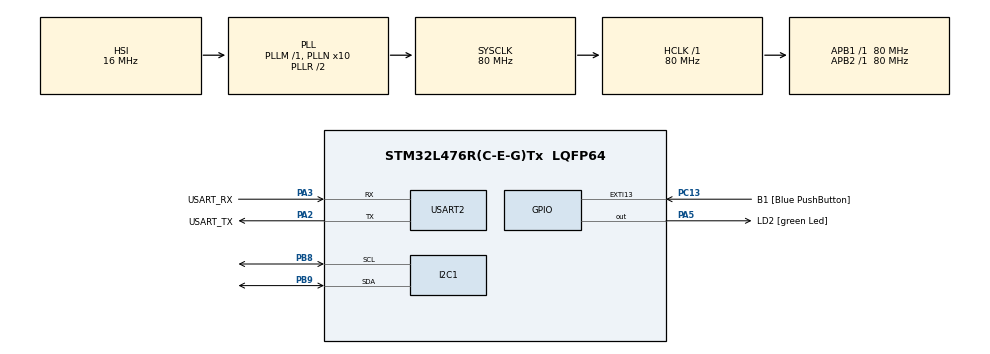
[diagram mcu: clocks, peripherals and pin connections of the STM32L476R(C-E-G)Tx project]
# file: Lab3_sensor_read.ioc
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I2C1.Timing=0x10D19CE4
Mcu.Family=STM32L4
Mcu.Name=STM32L476R(C-E-G)Tx
Mcu.Package=LQFP64
NVIC.PriorityGroup=NVIC_PRIORITYGROUP_4
PA13\ (JTMS-SWDIO).GPIO_Label=TMS
PA13\ (JTMS-SWDIO).Mode=Serial_Wire
PA13\ (JTMS-SWDIO).Signal=SYS_JTMS-SWDIO
PA14\ (JTCK-SWCLK).GPIO_Label=TCK
PA14\ (JTCK-SWCLK).Mode=Serial_Wire
PA14\ (JTCK-SWCLK).Signal=SYS_JTCK-SWCLK
PA2.GPIO_Label=USART_TX
PA2.GPIO_Mode=GPIO_MODE_AF_PP
PA2.GPIO_PuPd=GPIO_NOPULL
PA2.GPIO_Speed=GPIO_SPEED_FREQ_VERY_HIGH
PA2.Mode=Asynchronous
PA2.Signal=USART2_TX
PA3.GPIO_Label=USART_RX
PA3.GPIO_Mode=GPIO_MODE_AF_PP
PA3.GPIO_PuPd=GPIO_NOPULL
PA3.GPIO_Speed=GPIO_SPEED_FREQ_VERY_HIGH
PA3.Mode=Asynchronous
PA3.Signal=USART2_RX
PA5.GPIO_Label=LD2 [green Led]
PA5.GPIO_ModeDefaultOutputPP=GPIO_MODE_OUTPUT_PP
PA5.GPIO_PuPd=GPIO_NOPULL
PA5.GPIO_Speed=GPIO_SPEED_FREQ_LOW
PA5.Signal=GPIO_Output
PB3\ (JTDO-TRACESWO).GPIO_Label=SWO
PB3\ (JTDO-TRACESWO).Signal=SYS_JTDO-SWO
PB8.Mode=I2C
PB8.Signal=I2C1_SCL
PB9.Mode=I2C
PB9.Signal=I2C1_SDA
PC13.GPIO_Label=B1 [Blue PushButton]
PC13.GPIO_ModeDefaultEXTI=GPIO_MODE_IT_FALLING
PC13.GPIO_PuPd=GPIO_NOPULL
PC13.Signal=GPXTI13
PC14-OSC32_IN\ (PC14).Mode=LSE-External-Oscillator
PC14-OSC32_IN\ (PC14).Signal=RCC_OSC32_IN
PC15-OSC32_OUT\ (PC15).Mode=LSE-External-Oscillator
PC15-OSC32_OUT\ (PC15).Signal=RCC_OSC32_OUT
PH0-OSC_IN\ (PH0).Signal=RCC_OSC_IN
PH1-OSC_OUT\ (PH1).Signal=RCC_OSC_OUT
ProjectManager.HeapSize=0x200
ProjectManager.StackSize=0x400
ProjectManager.TargetToolchain=STM32CubeIDE
RCC.ADCFreq_Value=64000000
RCC.AHBFreq_Value=80000000
RCC.APB1Freq_Value=80000000
RCC.APB1TimFreq_Value=80000000
RCC.APB2Freq_Value=80000000
RCC.APB2TimFreq_Value=80000000
RCC.CortexFreq_Value=80000000
RCC.HCLKFreq_Value=80000000
RCC.HSE_VALUE=8000000
RCC.HSI_VALUE=16000000
RCC.MSI_VALUE=4000000
RCC.PLLN=10
RCC.PLLSourceVirtual=RCC_PLLSOURCE_HSI
RCC.PREFETCH_ENABLE=1
RCC.SYSCLKFreq_VALUE=80000000
RCC.SYSCLKSource=RCC_SYSCLKSOURCE_PLLCLK
RCC.USBFreq_Value=64000000
RCC.VCOOutputFreq_Value=160000000
USART2.VirtualMode-Asynchronous=VM_ASYNC
board=NUCLEO-L476RG

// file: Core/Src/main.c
/* USER CODE BEGIN Header */
/**
  ******************************************************************************
  * @file           : main.c
  * @brief          : Main program body
  ******************************************************************************
  * @attention
  *
  * Copyright (c) 2025 STMicroelectronics.
  * All rights reserved.
  *
  * This software is licensed under terms that can be found in the LICENSE file
  * in the root directory of this software component.
  * If no LICENSE file comes with this software, it is provided AS-IS.
  *
  ******************************************************************************
  */
/* USER CODE END Header */
#include "main.h"

/* USER CODE BEGIN Includes */
#include <string.h>
#include <stdio.h>
/* USER CODE END Includes */

/* USER CODE BEGIN PD */
#define ISL29125_ADDR         (0x44 << 1)  // 7-bit address shifted for HAL

// Register map
#define ISL29125_REG_DEVICE_ID   0x00
#define ISL29125_REG_CONFIG1     0x01
#define ISL29125_REG_CONFIG2     0x02
#define ISL29125_REG_CONFIG3     0x03
#define ISL29125_REG_STATUS      0x08
#define ISL29125_REG_GREEN_L     0x09
#define ISL29125_REG_GREEN_H     0x0A
#define ISL29125_REG_RED_L       0x0B
#define ISL29125_REG_RED_H       0x0C
#define ISL29125_REG_BLUE_L      0x0D
#define ISL29125_REG_BLUE_H      0x0E

// Config bits
#define CONFIG1_MODE_RGB_16BIT   0x05   // RGB mode, 16-bit ADC, 375 lux
#define CONFIG1_MODE_RGB_12BIT   0x0D   // RGB mode, 12-bit ADC, 375 lux
#define CONFIG2_IR_MAX           0xBF   // Max IR compensation + IR offset
#define CONFIG3_DEFAULT          0x00   // Default settings

/* USER CODE END PD */

I2C_HandleTypeDef hi2c1;

UART_HandleTypeDef huart2;

/* USER CODE BEGIN PV */
char msg[64];
int r, g, b;
/* USER CODE END PV */

void SystemClock_Config(void);
static void MX_GPIO_Init(void);
static void MX_USART2_UART_Init(void);
static void MX_I2C1_Init(void);
/* USER CODE BEGIN PFP */
HAL_StatusTypeDef ISL29125_WriteRegister(uint8_t reg, uint8_t value);
HAL_StatusTypeDef ISL29125_ReadRegister(uint8_t reg, uint8_t *value);
HAL_StatusTypeDef ISL29125_Init(void);
HAL_StatusTypeDef ISL29125_ReadRGB255(int *r_val, int *g_val, int *b_val);
const char* DetectColor(int r, int g, int b);
/* USER CODE END PFP */

int main(void)
{

  /* MCU Configuration--------------------------------------------------------*/

  /* Reset of all peripherals, Initializes the Flash interface and the Systick. */
  HAL_Init();

  /* Configure the system clock */
  SystemClock_Config();

  /* Initialize all configured peripherals */
  MX_GPIO_Init();
  MX_USART2_UART_Init();
  MX_I2C1_Init();
  /* USER CODE BEGIN 2 */
  ISL29125_Init();
  /* USER CODE END 2 */

  /* Infinite loop */
  /* USER CODE BEGIN WHILE */
  while (1)
  {

	  if (ISL29125_ReadRGB255(&r, &g, &b) == HAL_OK) {
		  const char* color = DetectColor(r, g, b);
		  int len = snprintf(msg, sizeof(msg), "R=%d G=%d B=%d \r\n", r, g, b);
	      HAL_UART_Transmit(&huart2, (uint8_t*)msg, len, HAL_MAX_DELAY);

	  }
	  HAL_Delay(500);
    /* USER CODE END WHILE */

  }
}

void SystemClock_Config(void)
{
  RCC_OscInitTypeDef RCC_OscInitStruct = {0};
  RCC_ClkInitTypeDef RCC_ClkInitStruct = {0};

  /** Configure the main internal regulator output voltage
  */
  if (HAL_PWREx_ControlVoltageScaling(PWR_REGULATOR_VOLTAGE_SCALE1) != HAL_OK)
  {
    Error_Handler();
  }

  /** Initializes the RCC Oscillators according to the specified parameters
  * in the RCC_OscInitTypeDef structure.
  */
  RCC_OscInitStruct.OscillatorType = RCC_OSCILLATORTYPE_HSI;
  RCC_OscInitStruct.HSIState = RCC_HSI_ON;
  RCC_OscInitStruct.HSICalibrationValue = RCC_HSICALIBRATION_DEFAULT;
  RCC_OscInitStruct.PLL.PLLState = RCC_PLL_ON;
  RCC_OscInitStruct.PLL.PLLSource = RCC_PLLSOURCE_HSI;
  RCC_OscInitStruct.PLL.PLLM = 1;
  RCC_OscInitStruct.PLL.PLLN = 10;
  RCC_OscInitStruct.PLL.PLLP = RCC_PLLP_DIV7;
  RCC_OscInitStruct.PLL.PLLQ = RCC_PLLQ_DIV2;
  RCC_OscInitStruct.PLL.PLLR = RCC_PLLR_DIV2;
  if (HAL_RCC_OscConfig(&RCC_OscInitStruct) != HAL_OK)
  {
    Error_Handler();
  }

  /** Initializes the CPU, AHB and APB buses clocks
  */
  RCC_ClkInitStruct.ClockType = RCC_CLOCKTYPE_HCLK|RCC_CLOCKTYPE_SYSCLK
                              |RCC_CLOCKTYPE_PCLK1|RCC_CLOCKTYPE_PCLK2;
  RCC_ClkInitStruct.SYSCLKSource = RCC_SYSCLKSOURCE_PLLCLK;
  RCC_ClkInitStruct.AHBCLKDivider = RCC_SYSCLK_DIV1;
  RCC_ClkInitStruct.APB1CLKDivider = RCC_HCLK_DIV1;
  RCC_ClkInitStruct.APB2CLKDivider = RCC_HCLK_DIV1;

  if (HAL_RCC_ClockConfig(&RCC_ClkInitStruct, FLASH_LATENCY_4) != HAL_OK)
  {
    Error_Handler();
  }
}

static void MX_I2C1_Init(void)
{

  hi2c1.Instance = I2C1;
  hi2c1.Init.Timing = 0x10D19CE4;
  hi2c1.Init.OwnAddress1 = 0;
  hi2c1.Init.AddressingMode = I2C_ADDRESSINGMODE_7BIT;
  hi2c1.Init.DualAddressMode = I2C_DUALADDRESS_DISABLE;
  hi2c1.Init.OwnAddress2 = 0;
  hi2c1.Init.OwnAddress2Masks = I2C_OA2_NOMASK;
  hi2c1.Init.GeneralCallMode = I2C_GENERALCALL_DISABLE;
  hi2c1.Init.NoStretchMode = I2C_NOSTRETCH_DISABLE;
  if (HAL_I2C_Init(&hi2c1) != HAL_OK)
  {
    Error_Handler();
  }

  /** Configure Analogue filter
  */
  if (HAL_I2CEx_ConfigAnalogFilter(&hi2c1, I2C_ANALOGFILTER_ENABLE) != HAL_OK)
  {
    Error_Handler();
  }

  /** Configure Digital filter
  */
  if (HAL_I2CEx_ConfigDigitalFilter(&hi2c1, 0) != HAL_OK)
  {
    Error_Handler();
  }

}

static void MX_USART2_UART_Init(void)
{

  huart2.Instance = USART2;
  huart2.Init.BaudRate = 115200;
  huart2.Init.WordLength = UART_WORDLENGTH_8B;
  huart2.Init.StopBits = UART_STOPBITS_1;
  huart2.Init.Parity = UART_PARITY_NONE;
  huart2.Init.Mode = UART_MODE_TX_RX;
  huart2.Init.HwFlowCtl = UART_HWCONTROL_NONE;
  huart2.Init.OverSampling = UART_OVERSAMPLING_16;
  huart2.Init.OneBitSampling = UART_ONE_BIT_SAMPLE_DISABLE;
  huart2.AdvancedInit.AdvFeatureInit = UART_ADVFEATURE_NO_INIT;
  if (HAL_UART_Init(&huart2) != HAL_OK)
  {
    Error_Handler();
  }

}

static void MX_GPIO_Init(void)
{
  GPIO_InitTypeDef GPIO_InitStruct = {0};

  /* GPIO Ports Clock Enable */
  __HAL_RCC_GPIOC_CLK_ENABLE();
  __HAL_RCC_GPIOH_CLK_ENABLE();
  __HAL_RCC_GPIOA_CLK_ENABLE();
  __HAL_RCC_GPIOB_CLK_ENABLE();

  /*Configure GPIO pin Output Level */
  HAL_GPIO_WritePin(LD2_GPIO_Port, LD2_Pin, GPIO_PIN_RESET);

  /*Configure GPIO pin : B1_Pin */
  GPIO_InitStruct.Pin = B1_Pin;
  GPIO_InitStruct.Mode = GPIO_MODE_IT_FALLING;
  GPIO_InitStruct.Pull = GPIO_NOPULL;
  HAL_GPIO_Init(B1_GPIO_Port, &GPIO_InitStruct);

  /*Configure GPIO pin : LD2_Pin */
  GPIO_InitStruct.Pin = LD2_Pin;
  GPIO_InitStruct.Mode = GPIO_MODE_OUTPUT_PP;
  GPIO_InitStruct.Pull = GPIO_NOPULL;
  GPIO_InitStruct.Speed = GPIO_SPEED_FREQ_LOW;
  HAL_GPIO_Init(LD2_GPIO_Port, &GPIO_InitStruct);

}

/* USER CODE BEGIN 4 */
HAL_StatusTypeDef ISL29125_WriteRegister(uint8_t reg, uint8_t value) {
    uint8_t buf[2] = {reg, value};
    return HAL_I2C_Master_Transmit(&hi2c1, ISL29125_ADDR, buf, 2, HAL_MAX_DELAY);
}

HAL_StatusTypeDef ISL29125_ReadRegister(uint8_t reg, uint8_t *value) {
    HAL_StatusTypeDef ret;
    ret = HAL_I2C_Master_Transmit(&hi2c1, ISL29125_ADDR, &reg, 1, HAL_MAX_DELAY);
    if (ret != HAL_OK) return ret;
    return HAL_I2C_Master_Receive(&hi2c1, ISL29125_ADDR, value, 1, HAL_MAX_DELAY);
}

HAL_StatusTypeDef ISL29125_Init(void)
{
    HAL_StatusTypeDef ret;
//    uint8_t device_id;

    //  Configure sensor for RGB mode, 16-bit ADC, 375 lux
    ret = ISL29125_WriteRegister(ISL29125_REG_CONFIG1, CONFIG1_MODE_RGB_16BIT);
    if (ret != HAL_OK) return ret;

    // Sensor initialized successfully
    return HAL_OK;
}

HAL_StatusTypeDef ISL29125_ReadRGB255(int *r_val, int *g_val, int *b_val) {
    uint8_t lo, hi;
    uint16_t r_raw, g_raw, b_raw;

    // Read Green
    ISL29125_ReadRegister(ISL29125_REG_GREEN_L, &lo);
    ISL29125_ReadRegister(ISL29125_REG_GREEN_H, &hi);
    g_raw = (hi << 8) | lo;

    // Read Red
    ISL29125_ReadRegister(ISL29125_REG_RED_L, &lo);
    ISL29125_ReadRegister(ISL29125_REG_RED_H, &hi);
    r_raw = (hi << 8) | lo;

    // Read Blue
    ISL29125_ReadRegister(ISL29125_REG_BLUE_L, &lo);
    ISL29125_ReadRegister(ISL29125_REG_BLUE_H, &hi);
    b_raw = (hi << 8) | lo;

    // Convert to percentage of sensor range (0–65535)
    *r_val = (r_raw * 255) / 65535;
    *g_val = (g_raw * 255) / 65535;
    *b_val = (b_raw * 255) / 65535;

    return HAL_OK;
}
const char* DetectColor(int r, int g, int b) {
    // --- BLACK detection ---
    if (r < 60 && g < 100 && 50 < b && b < 80) return "BLACK";

    // --- YELLOW detection ---
    if (r > 240 && g > 240 && b > 190) return "YELLOW";

    // --- RED detection ---
    if (r > 145 && g > 145) {
        if (g - b > 60) return "RED";
    }

    // --- GREEN (Dark/Light) detection ---
    if (g > 250) {
        if (g > r + 70 && g > b + 70) return "GREEN";
        if (r > 150 && b > 150) return "GREEN";
    }

    // --- BLUE (Dark/Light) detection ---
    if (g > 170 && b > 170 && r < 100) {
        if (b > r + 90) return "BLUE";
    }

    // Fallback if nothing matches cleanly
    return "UNKNOWN";
}
/* USER CODE END 4 */

void Error_Handler(void)
{
  __disable_irq();
  while (1)
  {
  }
}
